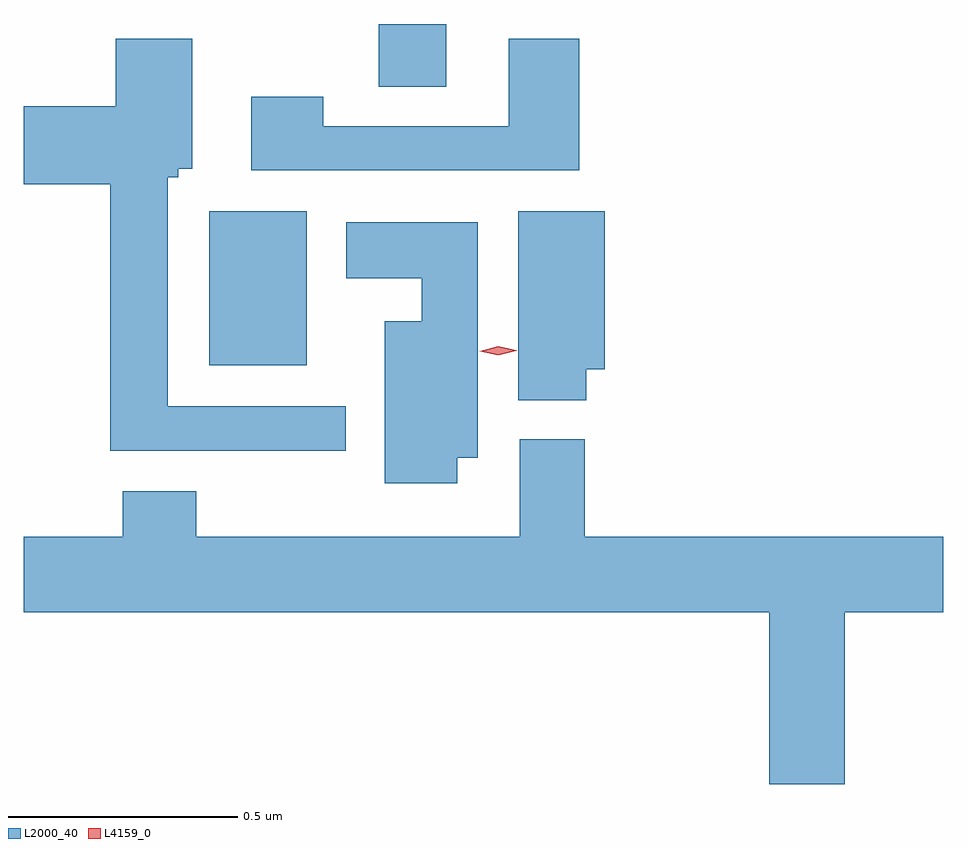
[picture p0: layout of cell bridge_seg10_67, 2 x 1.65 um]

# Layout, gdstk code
import gdstk
lib = gdstk.Library(unit=1e-6, precision=1e-09)
def R(c, l, rs):  # rectangles x0, y0, x1, y1
    for r in rs: c.add(gdstk.rectangle(r[:2], r[2:], *l))
def P(c, l, *ps):  # polygons
    for p in ps: c.add(gdstk.Polygon(p, *l))
L2000_40 = (2000, 40)
L4159_0 = (4159, 0)

bridge_seg10_67 = lib.new_cell('bridge_seg10_67')
R(bridge_seg10_67, L2000_40, [(799.154,1268.885,799.366,1269.22), (799.522,1269.49,799.669,1269.627)])
P(bridge_seg10_67, L2000_40, [(799.45,1268.796),(799.063,1268.796),(799.063,1269.294),(799.086,1269.294),(799.086,1269.312),(799.117,1269.312),(799.117,1269.595),(798.95,1269.595),(798.95,1269.448),(798.75,1269.448),(798.75,1269.278),(798.938,1269.278),(798.938,1268.699),(799.45,1268.699)],
  [(799.958,1269.595),(799.805,1269.595),(799.805,1269.405),(799.401,1269.405),(799.401,1269.469),(799.245,1269.469),(799.245,1269.309),(799.958,1269.309)],
  [(799.973,1268.876),(800.014,1268.876),(800.014,1269.22),(799.826,1269.22),(799.826,1268.809),(799.973,1268.809)],
  [(799.693,1268.684),(799.738,1268.684),(799.738,1269.196),(799.451,1269.196),(799.451,1269.074),(799.616,1269.074),(799.616,1268.98),(799.535,1268.98),(799.535,1268.628),(799.693,1268.628)],
  [(800.536,1268.348),(800.75,1268.348),(800.75,1268.512),(799.97,1268.512),(799.97,1268.724),(799.829,1268.724),(799.829,1268.512),(799.125,1268.512),(799.125,1268.611),(798.965,1268.611),(798.965,1268.512),(798.75,1268.512),(798.75,1268.348),(800.372,1268.348),(800.372,1267.974),(800.536,1267.974)])
P(bridge_seg10_67, L4159_0, [(799.782,1268.906),(799.742,1268.915),(799.742,1268.915),(799.742,1268.915),(799.782,1268.926),(799.821,1268.917),(799.822,1268.916),(799.821,1268.916)])

lib.write_gds('bridge_seg10_67.gds')
